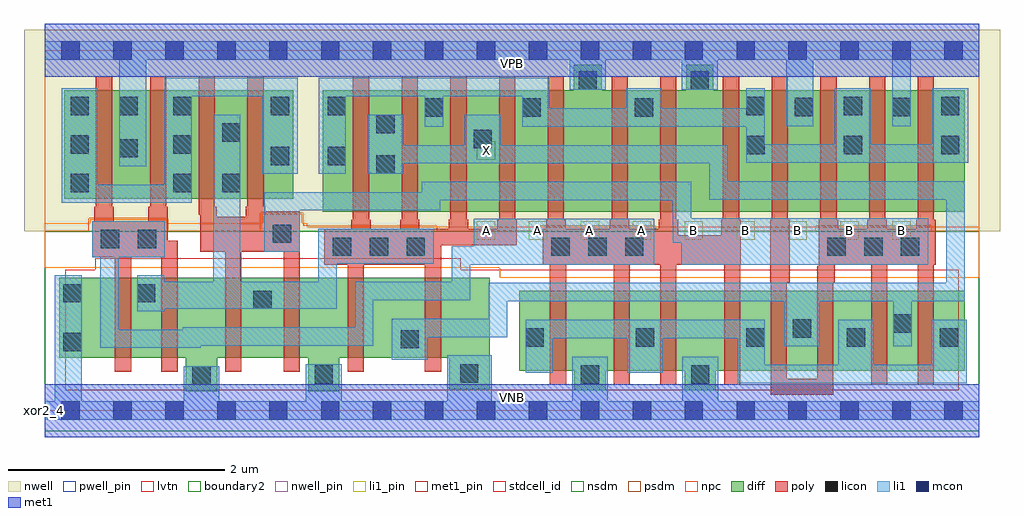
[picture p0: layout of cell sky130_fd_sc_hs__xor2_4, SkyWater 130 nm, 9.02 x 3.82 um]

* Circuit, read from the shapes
.subckt sky130_fd_sc_hs__xor2_4 A B VGND VNB VPB VPWR X
XM1 n1 A VGND VNB sky130_fd_pr__nfet_01v8_lvt w=0.74 l=0.15 m=2
XM2 n1 B VGND VNB sky130_fd_pr__nfet_01v8_lvt w=0.74 l=0.15 m=2
XM3 X n1 VGND VNB sky130_fd_pr__nfet_01v8_lvt w=0.74 l=0.15 m=2
XM4 VGND A n2 VNB sky130_fd_pr__nfet_01v8_lvt w=0.74 l=0.15 m=4
XM5 X B n2 VNB sky130_fd_pr__nfet_01v8_lvt w=0.74 l=0.15 m=4
XM6 VPWR A n3 VPB sky130_fd_pr__pfet_01v8 w=1 l=0.15 m=2
XM7 n1 B n3 VPB sky130_fd_pr__pfet_01v8 w=1 l=0.15 m=2
XM8 X n1 n4 VPB sky130_fd_pr__pfet_01v8 w=1.12 l=0.15 m=4
XM9 VPWR A n4 VPB sky130_fd_pr__pfet_01v8 w=1.12 l=0.15 m=4
XM10 VPWR B n4 VPB sky130_fd_pr__pfet_01v8 w=1.12 l=0.15 m=4
.ends

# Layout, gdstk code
import gdstk
lib = gdstk.Library(unit=1e-6, precision=1e-09)
def R(c, l, rs):  # rectangles x0, y0, x1, y1
    for r in rs: c.add(gdstk.rectangle(r[:2], r[2:], *l))
def A(c, l, x, y, w, h, nx, ny, dx, dy):  # array of equal rectangles
    R(c, l, [(x+i*dx, y+j*dy, x+i*dx+w, y+j*dy+h) for i in range(nx) for j in range(ny)])
def P(c, l, *ps):  # polygons
    for p in ps: c.add(gdstk.Polygon(p, *l))
nwell_pin = (64, 16)
nwell = (64, 20)
diff = (65, 20)
poly = (66, 20)
licon = (66, 44)
li1_pin = (67, 16)
li1 = (67, 20)
mcon = (67, 44)
met1_pin = (68, 16)
met1 = (68, 20)
stdcell_id = (81, 4)
nsdm = (93, 44)
psdm = (94, 20)
npc = (95, 20)
pwell_pin = (122, 16)
lvtn = (125, 44)
boundary2 = (236, 0)

sky130_fd_sc_hs__xor2_4 = lib.new_cell('sky130_fd_sc_hs__xor2_4')
R(sky130_fd_sc_hs__xor2_4, nwell_pin, [(0,3.085,8.64,3.33)])
R(sky130_fd_sc_hs__xor2_4, nwell, [(-0.19,1.66,8.83,3.52)])
R(sky130_fd_sc_hs__xor2_4, diff, [(0.18,1.96,2.3,2.96)])
P(sky130_fd_sc_hs__xor2_4, diff, [(4.115,1.23),(0.135,1.23),(0.135,0.49),(1.305,0.49),(1.305,0.18),(1.595,0.18),(1.595,0.49),(2.435,0.49),(2.435,0.18),(2.725,0.18),(2.725,0.49),(3.74,0.49),(3.74,0.2),(4.115,0.2)],
  [(8.505,2.96),(6.18,2.96),(6.18,3.195),(5.93,3.195),(5.93,2.96),(5.15,2.96),(5.15,3.195),(4.89,3.195),(4.89,2.96),(2.57,2.96),(2.57,1.84),(8.505,1.84)],
  [(8.505,1.11),(4.385,1.11),(4.385,0.37),(4.895,0.37),(4.895,0.19),(5.185,0.19),(5.185,0.37),(5.915,0.37),(5.915,0.19),(6.205,0.19),(6.205,0.37),(8.505,0.37)])
P(sky130_fd_sc_hs__xor2_4, poly, [(1.23,1.57),(1.14,1.57),(1.14,1.885),(1.125,1.885),(1.125,3.09),(0.975,3.09),(0.975,1.885),(0.96,1.885),(0.96,1.75),(0.64,1.75),(0.64,1.885),(0.625,1.885),(0.625,3.09),(0.475,3.09),(0.475,1.885),(0.46,1.885),(0.46,1.75),(0.44,1.75),(0.44,1.42),(0.65,1.42),(0.65,0.36),(0.8,0.36),(0.8,1.42),(1.08,1.42),(1.08,0.36),(1.23,0.36)],
  [(2.36,1.845),(2.04,1.845),(2.04,1.885),(2.025,1.885),(2.025,3.09),(1.875,3.09),(1.875,1.885),(1.86,1.885),(1.86,1.79),(1.59,1.79),(1.59,1.885),(1.575,1.885),(1.575,3.09),(1.425,3.09),(1.425,1.81),(1.44,1.81),(1.44,1.47),(1.67,1.47),(1.67,0.36),(1.82,0.36),(1.82,1.47),(2.21,1.47),(2.21,0.36),(2.36,0.36)],
  [(4.365,1.765),(4.35,1.765),(4.35,3.09),(4.2,3.09),(4.2,1.765),(4.185,1.765),(4.185,1.68),(3.915,1.68),(3.915,1.765),(3.9,1.765),(3.9,3.09),(3.75,3.09),(3.75,1.765),(3.735,1.765),(3.735,1.68),(3.465,1.68),(3.465,1.765),(3.45,1.765),(3.45,3.09),(3.3,3.09),(3.3,1.765),(3.285,1.765),(3.285,1.68),(3.015,1.68),(3.015,1.765),(3,1.765),(3,3.09),(2.85,3.09),(2.85,1.765),(2.835,1.765),(2.835,1.68),(2.585,1.68),(2.585,1.35),(2.8,1.35),(2.8,0.36),(2.95,0.36),(2.95,1.35),(3.515,1.35),(3.515,0.36),(3.665,0.36),(3.665,1.53),(4.365,1.53)],
  [(6.435,1.765),(6.42,1.765),(6.42,3.09),(6.27,3.09),(6.27,1.765),(6.255,1.765),(6.255,1.62),(5.855,1.62),(5.855,1.765),(5.84,1.765),(5.84,3.09),(5.69,3.09),(5.69,1.765),(5.675,1.765),(5.675,1.68),(5.405,1.68),(5.405,1.765),(5.39,1.765),(5.39,3.09),(5.24,3.09),(5.24,1.765),(5.225,1.765),(5.225,1.68),(4.815,1.68),(4.815,1.765),(4.8,1.765),(4.8,3.09),(4.65,3.09),(4.65,1.765),(4.635,1.765),(4.635,1.68),(4.605,1.68),(4.605,1.35),(4.67,1.35),(4.67,0.24),(4.82,0.24),(4.82,1.35),(5.26,1.35),(5.26,0.24),(5.41,0.24),(5.41,1.35),(5.69,1.35),(5.69,0.24),(5.84,0.24),(5.84,1.35),(6.28,1.35),(6.28,0.24),(6.43,0.24),(6.43,1.35),(6.435,1.35)],
  [(8.235,1.765),(8.22,1.765),(8.22,3.09),(8.07,3.09),(8.07,1.765),(8.055,1.765),(8.055,1.68),(7.785,1.68),(7.785,1.765),(7.77,1.765),(7.77,3.09),(7.62,3.09),(7.62,1.765),(7.605,1.765),(7.605,1.68),(7.335,1.68),(7.335,1.765),(7.32,1.765),(7.32,3.09),(7.17,3.09),(7.17,1.765),(7.155,1.765),(7.155,1.335),(7.14,1.335),(7.14,0.295),(6.86,0.295),(6.86,1.185),(6.885,1.185),(6.885,1.765),(6.87,1.765),(6.87,3.09),(6.72,3.09),(6.72,1.765),(6.705,1.765),(6.705,1.185),(6.71,1.185),(6.71,0.145),(7.29,0.145),(7.29,1.185),(7.305,1.185),(7.305,1.35),(7.64,1.35),(7.64,0.24),(7.79,0.24),(7.79,1.35),(8.07,1.35),(8.07,0.24),(8.22,0.24),(8.22,1.35),(8.235,1.35)])
A(sky130_fd_sc_hs__xor2_4, licon, 4.445, 0.59, 0.17, 0.17, 3, 1, 1.02, 0)
A(sky130_fd_sc_hs__xor2_4, licon, 2.665, 1.43, 0.17, 0.17, 3, 1, 0.34, 0)
A(sky130_fd_sc_hs__xor2_4, licon, 4.685, 1.43, 0.17, 0.17, 3, 1, 0.34, 0)
A(sky130_fd_sc_hs__xor2_4, licon, 7.235, 1.43, 0.17, 0.17, 3, 1, 0.34, 0)
A(sky130_fd_sc_hs__xor2_4, licon, 0.24, 2.02, 0.17, 0.17, 1, 3, 0, 0.355)
A(sky130_fd_sc_hs__xor2_4, licon, 1.19, 2.02, 0.17, 0.17, 1, 3, 0, 0.355)
A(sky130_fd_sc_hs__xor2_4, licon, 6.485, 2.37, 0.17, 0.17, 3, 2, 0.9, 0.36)
R(sky130_fd_sc_hs__xor2_4, licon, [(1.365,0.24,1.535,0.41), (2.495,0.25,2.665,0.42), (4.955,0.25,5.125,0.42), (5.975,0.25,6.145,0.42), (3.84,0.26,4.01,0.43), (0.175,0.55,0.345,0.72), (3.29,0.575,3.46,0.745), (7.415,0.59,7.585,0.76), (8.275,0.59,8.445,0.76), (6.915,0.675,7.085,0.845), (7.845,0.72,8.015,0.89), (1.93,0.94,2.1,1.11), (0.175,1,0.345,1.17), (0.855,1,1.025,1.17), (0.52,1.5,0.69,1.67), (0.86,1.5,1.03,1.67), (2.11,1.55,2.28,1.72), (1.64,2.02,1.81,2.19), (3.065,2.19,3.235,2.36), (2.09,2.27,2.26,2.44), (2.615,2.27,2.785,2.44), (0.69,2.34,0.86,2.51), (3.965,2.425,4.135,2.595), (1.64,2.485,1.81,2.655), (3.065,2.565,3.235,2.735), (3.515,2.715,3.685,2.885), (4.415,2.715,4.585,2.885), (5.455,2.715,5.625,2.885), (6.935,2.72,7.105,2.89), (7.835,2.72,8.005,2.89), (0.69,2.73,0.86,2.9), (2.09,2.73,2.26,2.9), (2.615,2.73,2.785,2.9), (4.935,2.965,5.105,3.135), (5.97,2.965,6.14,3.135)])
A(sky130_fd_sc_hs__xor2_4, li1_pin, 3.995, 1.58, 0.17, 0.17, 9, 1, 0.48, 0)
R(sky130_fd_sc_hs__xor2_4, li1_pin, [(3.995,2.32,4.165,2.49)])
P(sky130_fd_sc_hs__xor2_4, li1, [(0,-0.085),(0,0.085),(0.095,0.085),(0.095,1.25),(0.345,1.25),(0.345,0.085),(1.285,0.085),(1.285,0.41),(1.615,0.41),(1.615,0.085),(2.415,0.085),(2.415,0.43),(2.745,0.43),(2.745,0.085),(3.72,0.085),(3.72,0.51),(4.135,0.51),(4.135,0.085),(4.875,0.085),(4.875,0.5),(5.205,0.5),(5.205,0.085),(5.895,0.085),(5.895,0.5),(6.225,0.5),(6.225,0.085),(8.64,0.085),(8.64,-0.085)],
  [(0,3.245),(0,3.415),(8.64,3.415),(8.64,3.245),(8.005,3.245),(8.005,2.63),(7.835,2.63),(7.835,3.245),(7.105,3.245),(7.105,2.63),(6.855,2.63),(6.855,3.245),(6.22,3.245),(6.22,2.965),(5.89,2.965),(5.89,3.245),(5.185,3.245),(5.185,2.965),(4.855,2.965),(4.855,3.245),(0.94,3.245),(0.94,2.26),(0.69,2.26),(0.69,3.245)],
  [(3.765,1.52),(3.965,1.52),(3.965,1.775),(5.635,1.775),(5.635,1.35),(3.935,1.35),(3.935,1.02),(3.04,1.02),(3.04,0.6),(1.445,0.6),(1.445,0.58),(0.515,0.58),(0.515,1.42),(0.44,1.42),(0.44,1.75),(1.11,1.75),(1.11,1.42),(0.685,1.42),(0.685,0.75),(1.275,0.75),(1.275,0.77),(2.87,0.77),(2.87,1.19),(3.765,1.19)],
  [(5.975,1.78),(8.165,1.78),(8.165,1.35),(5.885,1.35),(5.885,1.55),(5.805,1.55),(5.805,1.945),(3.655,1.945),(3.655,1.85),(2.36,1.85),(2.36,1.47),(2.03,1.47),(2.03,2.02),(3.485,2.02),(3.485,2.115),(5.975,2.115)],
  [(3.885,2.455),(3.885,2.735),(4.215,2.735),(4.215,2.455),(6.315,2.455),(6.315,2.12),(8.505,2.12),(8.505,1.01),(8.015,1.01),(8.015,0.595),(7.845,0.595),(7.845,1.01),(7.165,1.01),(7.165,0.595),(6.835,0.595),(6.835,1.01),(4.275,1.01),(4.275,0.68),(3.54,0.68),(3.54,0.47),(3.21,0.47),(3.21,0.85),(4.105,0.85),(4.105,1.18),(8.335,1.18),(8.335,1.95),(6.145,1.95),(6.145,2.285),(3.315,2.285),(3.315,2.19),(2.985,2.19),(2.985,2.735),(3.315,2.735),(3.315,2.455)],
  [(2.53,1.68),(3.595,1.68),(3.595,1.36),(2.7,1.36),(2.7,0.94),(1.105,0.94),(1.105,0.92),(0.855,0.92),(0.855,1.25),(1.105,1.25),(1.105,1.19),(1.56,1.19),(1.56,2.735),(1.81,2.735),(1.81,1.19),(2.53,1.19)],
  [(7.635,2.46),(8.205,2.46),(8.205,2.98),(8.535,2.98),(8.535,2.29),(6.485,2.29),(6.485,2.625),(4.415,2.625),(4.415,2.905),(3.685,2.905),(3.685,2.625),(3.515,2.625),(3.515,2.905),(2.785,2.905),(2.785,2.19),(2.535,2.19),(2.535,3.075),(4.665,3.075),(4.665,2.795),(5.375,2.795),(5.375,2.98),(5.705,2.98),(5.705,2.795),(6.485,2.795),(6.485,2.98),(6.655,2.98),(6.655,2.46),(7.305,2.46),(7.305,2.98),(7.635,2.98)],
  [(0.49,2.09),(1.11,2.09),(1.11,3.075),(2.34,3.075),(2.34,2.19),(2.01,2.19),(2.01,2.905),(1.36,2.905),(1.36,1.92),(0.16,1.92),(0.16,2.98),(0.49,2.98)],
  [(5.385,0.35),(5.385,0.67),(4.695,0.67),(4.695,0.35),(4.445,0.35),(4.445,0.84),(6.655,0.84),(6.655,0.425),(7.335,0.425),(7.335,0.84),(7.665,0.84),(7.665,0.425),(8.195,0.425),(8.195,0.84),(8.525,0.84),(8.525,0.255),(6.405,0.255),(6.405,0.67),(5.715,0.67),(5.715,0.35)])
A(sky130_fd_sc_hs__xor2_4, mcon, 0.155, -0.085, 0.17, 0.17, 18, 2, 0.48, 3.33)
R(sky130_fd_sc_hs__xor2_4, met1_pin, [(0,0,8.64,0.245), (0,3.085,8.64,3.33)])
R(sky130_fd_sc_hs__xor2_4, met1, [(0,-0.245,8.64,0.245), (0,3.085,8.64,3.575)])
R(sky130_fd_sc_hs__xor2_4, stdcell_id, [(0,0,8.64,3.33)])
R(sky130_fd_sc_hs__xor2_4, nsdm, [(0,-0.19,8.64,1.66)])
P(sky130_fd_sc_hs__xor2_4, psdm, [(8.64,3.52),(0,3.52),(0,1.66),(0.41,1.66),(0.41,1.78),(1.14,1.78),(1.14,1.66),(2,1.66),(2,1.83),(2.39,1.83),(2.39,1.71),(3.625,1.71),(3.625,1.66),(4.575,1.66),(4.575,1.71),(5.645,1.71),(5.645,1.66),(7.125,1.66),(7.125,1.71),(8.195,1.71),(8.195,1.66),(8.64,1.66)])
P(sky130_fd_sc_hs__xor2_4, npc, [(8.64,1.7),(2.43,1.7),(2.43,1.73),(2.38,1.73),(2.38,1.82),(2.01,1.82),(2.01,1.73),(1.13,1.73),(1.13,1.77),(0.42,1.77),(0.42,1.73),(0,1.73),(0,1.32),(4.205,1.32),(4.205,1.23),(8.64,1.23)])
R(sky130_fd_sc_hs__xor2_4, pwell_pin, [(0,0,8.64,0.245)])
P(sky130_fd_sc_hs__xor2_4, lvtn, [(8.45,1.3),(3.845,1.3),(3.845,1.41),(0.47,1.41),(0.47,1.3),(0.19,1.3),(0.19,0.19),(8.45,0.19)])
R(sky130_fd_sc_hs__xor2_4, boundary2, [(0,0,8.64,3.33)])
sky130_fd_sc_hs__xor2_4.add(gdstk.Label('xor2_4', (0,0), layer=83, texttype=44))
sky130_fd_sc_hs__xor2_4.add(gdstk.Label('VNB', (4.32,0.123), layer=64, texttype=59))
sky130_fd_sc_hs__xor2_4.add(gdstk.Label('VPB', (4.32,3.208), layer=64, texttype=5))
sky130_fd_sc_hs__xor2_4.add(gdstk.Label('VPWR', (4.32,3.208), layer=68, texttype=5))
sky130_fd_sc_hs__xor2_4.add(gdstk.Label('VGND', (4.32,0.123), layer=68, texttype=5))
sky130_fd_sc_hs__xor2_4.add(gdstk.Label('A', (4.08,1.665), layer=67, texttype=5))
sky130_fd_sc_hs__xor2_4.add(gdstk.Label('A', (4.56,1.665), layer=67, texttype=5))
sky130_fd_sc_hs__xor2_4.add(gdstk.Label('A', (5.04,1.665), layer=67, texttype=5))
sky130_fd_sc_hs__xor2_4.add(gdstk.Label('A', (5.52,1.665), layer=67, texttype=5))
sky130_fd_sc_hs__xor2_4.add(gdstk.Label('B', (6,1.665), layer=67, texttype=5))
sky130_fd_sc_hs__xor2_4.add(gdstk.Label('B', (6.48,1.665), layer=67, texttype=5))
sky130_fd_sc_hs__xor2_4.add(gdstk.Label('B', (6.96,1.665), layer=67, texttype=5))
sky130_fd_sc_hs__xor2_4.add(gdstk.Label('B', (7.44,1.665), layer=67, texttype=5))
sky130_fd_sc_hs__xor2_4.add(gdstk.Label('B', (7.92,1.665), layer=67, texttype=5))
sky130_fd_sc_hs__xor2_4.add(gdstk.Label('X', (4.08,2.405), layer=67, texttype=5))

lib.write_gds('sky130_fd_sc_hs__xor2_4.gds')
